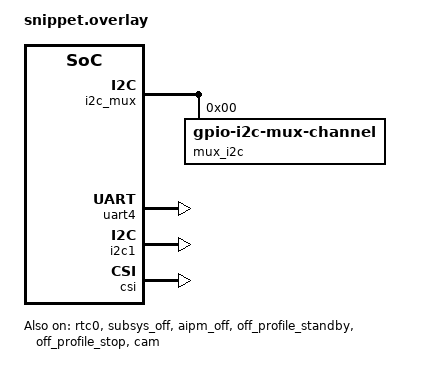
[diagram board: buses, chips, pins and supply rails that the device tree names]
/* Copyright (C) 2026 Alif Semiconductor - All Rights Reserved.
 * Use, distribution and modification of this code is permitted under the
 * terms stated in the Alif Semiconductor Software License Agreement
 *
 * You should have received a copy of the Alif Semiconductor Software
 * License Agreement with this file. If not, please write to:
 * contact@alifsemi.com, or visit: https://alifsemi.com/license
 *
 */
/* Camera Configuration for PM Testing - ARX3A0 Selfie Camera */
#include <dt-bindings/pinctrl/ensemble-pinctrl.h>
#include <dt-bindings/i2c/i2c.h>
#include <dt-bindings/gpio/gpio.h>
#include <dt-bindings/video/video-interfaces.h>

&rtc0 {
	prescaler = <1>;
	status = "okay";
};

&lpgpio {
	status = "disabled";
};

&uart4 {
	status = "okay";
};

&uart2 {
	status = "disabled";
};

&subsys_off {
	min-residency-us = <25000000>;
	status = "okay";
};

&standby_s2ram {
	min-residency-us = <19000000>;
	status = "okay";
};

&stop_s2ram {
	min-residency-us = <21000000>;
	status = "okay";
};

&suspend_idle {
	status = "disabled";
};

&aipm_run_default {
	aipm-power-domains = <(ALIF_PD_SSE700_AON_MASK | ALIF_PD_SYST_MASK | ALIF_PD_DBSS_MASK)>;
	phy-pwr-gating = <(ALIF_PHY_GATE_MIPI_TX_DPHY_MASK | ALIF_PHY_GATE_MIPI_RX_DPHY_MASK |
			   ALIF_PHY_GATE_MIPI_PLL_DPHY_MASK | ALIF_PHY_GATE_LDO_MASK)>;
	ip-clock-gating = <(ALIF_IP_CLK_GATE_CAMERA_MASK | ALIF_IP_CLK_GATE_MIPI_CSI_MASK |
			    ALIF_IP_CLK_GATE_MIPI_DSI_MASK)>;
	memory-blocks   = <(ALIF_MRAM_MASK | ALIF_SRAM0_MASK)>;
};


&aipm_off {
	vtor-address = <0x00000000>;
	status = "okay";
};

&off_profile_standby {
	status = "okay";
	wakeup-events = <ALIF_WE_LPRTC>;
	ewic-cfg = <ALIF_EWIC_RTC_A>;
};

&off_profile_stop {
	status = "okay";
	wakeup-events = <ALIF_WE_LPRTC>;
	ewic-cfg = <ALIF_EWIC_RTC_A>;
};


&i2c1 {
	status = "okay";
};

&gpio7 {
	status = "okay";
};

&gpio14 {
	status = "okay";
};

/* enable HFOSC clock clk_38p4m. */
&clk_38p4m {
	status = "okay";
};

/* enable CFG clock clk_100m. */
&clk_100m {
	status = "okay";
};

/ {
	chosen {
		zephyr,cortex-m-idle-timer = &rtc0;
		zephyr,console = &uart4;
	};
};

/ {
    i2c_mux: i2c-mux {
	compatible = "gpio-i2c-mux";
	status = "okay";
	#address-cells = <1>;
	#size-cells = <0>;

	i2c-inst = <&i2c1>;
	ctrl-gpios = <&gpio14 3 GPIO_ACTIVE_HIGH>;

	mux_i2c@0 {
		compatible = "gpio-i2c-mux-channel";
		reg = <0>;
		#address-cells = <1>;
		#size-cells = <0>;

		arx3a0_selfie: arx3a0_selfie@36 {
			compatible = "onnn,arx3a0";
			reg = <0x36>;
			reset-gpios = <&gpio14 4 GPIO_ACTIVE_HIGH>;
			power-gpios = <&gpio7 5 GPIO_ACTIVE_HIGH>;
			status = "okay";

		port {
			arx3a0_csi2_ep_out0: endpoint {
			bus-type = <VIDEO_BUS_TYPE_CSI2_DPHY>;
			link-frequencies = < 400000000 >;
			data-lanes = <1 2>;
			clock-lane = <0>;
			remote-endpoint-label = "csi2_ep_in0";
			};
		   };
	     };
	};
	};
};

&cam {
	status = "okay";
	pinctrl-0 = <&pinctrl_cam_xvclk>;
	pinctrl-names = "default";
	clocks = <&clockctrl ALIF_CPI_CLK>, <&clockctrl ALIF_CAMERA_PIX_SYST_ACLK>;
	clock-names = "cam_clk", "pix_clk";

	ports {
		#address-cells = <1>;
		#size-cells = <0>;

	port@0 {
		reg = <0>;
		cam_csi2_ep_in: endpoint {
			remote-endpoint-label = "csi2_ep_out";
		};
	};

	port@1 {
		reg = <1>;
		cam_axi_ep: endpoint {
		remote-endpoint-label = "apps_arx";
		};
	};

	port@2 {
		reg = <2>;
		cam_mem_ep_out: endpoint {
		remote-endpoint-label = "application";
		};
	};
	};
};

&csi {
	status = "okay";
	phy-if = <&dphy 0>;

	ports {
		#address-cells = <1>;
		#size-cells = <0>;

	port@0 {
		reg = <0>;
		csi2_ep_in0: endpoint {
		bus-type = <VIDEO_BUS_TYPE_CSI2_DPHY>;
		data-lanes = <1 2>;
		clock-lane = <0>;
		remote-endpoint-label = "arx3a0_csi2_ep_out0";
		};
	};

	port@2 {
		reg = <2>;
		csi2_ep_out: endpoint {
		remote-endpoint-label = "cam_csi2_ep_in";
		bus-type = <VIDEO_BUS_TYPE_PARALLEL>;
		};
	};
	};
};

/ {
	aliases {
		camera = &cam;
	};
};
